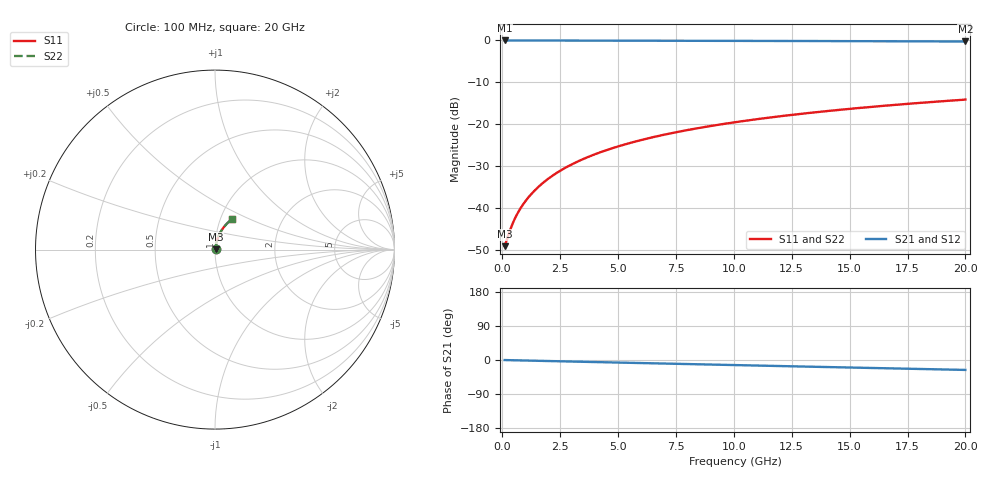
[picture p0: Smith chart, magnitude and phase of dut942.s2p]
! Touchstone file exported from HFSS 2026.1.0
!  File:  C:/ffzhzh/LocalFiles/Ansys_Project_Files/temp_train_BSMRDL_942_1783172102_22436.aedt
!  Generated:  09:36:12 PM Jul  4, 2026
!  Design:  BSMRDL
!  Project:  temp_train_BSMRDL_942_1783172102_22436
! Variables:
!  h_bsmrdl = 3.22um
!  h_ox = 20um
!  h_rdl = 5um
!  h_sub = 80um
!  h_tmrdl = 5um
!  h_tsv = 80um
!  h_via = 3um
!  l_bsmrdl = 412.27um
!  l_sub = 812.27um
!  l_tmrdl = 200um
!  m_sub = 200um
!  pitch = 25.89um
!  r_tsv = 6um
!  s_tmrdl = 10um
!  w_bsmrdl = 14.63um
!  w_sub = 500um
!  w_tmrdl = 12um
!  x_tsv_center1 = 206um
!  x_tsv_center2 = 632.9um
!  x_tsv_center3 = 844.9um
!  x_tsv_center4 = 1271.8um
!  x_tsv_center5 = 1483.8um
!  x_tsv_center6 = 1910.7um
# GHz S MA R 50.000000
! Terminal data exported
! Port[1] = BSM_RDL1_1_T1
! Port[2] = BSM_RDL1_1_T2
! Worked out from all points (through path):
!   200 points, 100 MHz to 20 GHz, reference 50 ohm
!   highest |S21| = -0.03 dB at 100 MHz (marker M1); lowest = -0.3 dB at 20 GHz (marker M2)
!   group delay of S21, straight-line fit = 3.63 ps
!   lowest |S11| = -49.1 dB at 100 MHz (marker M3), VSWR 1.01, Z = 50.3 + j0.128 ohm
!   |S11| at or under -10 dB: start of sweep to end of sweep
!   |S22| runs from -49.1 to -14.1 dB; largest |S21 - S12| = 2.7e-15
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0.1  0.0035 21.3  0.9967 -0.1  0.9967 -0.1  0.0035 21.3
! Gamma 0 0 0 0
! Port Impedance 50 0 50 0
0.4  0.006053 52.9  0.9964 -0.6  0.9964 -0.6  0.006054 52.9
0.5  0.00704 57.4  0.9963 -0.7  0.9963 -0.7  0.00704 57.4
0.6  0.008033 60.8  0.9962 -0.8  0.9962 -0.8  0.008033 60.8
0.7  0.009031 63.4  0.9961 -1.0  0.9961 -1.0  0.009031 63.4
0.9  0.01104 67.3  0.9959 -1.3  0.9959 -1.3  0.01104 67.3
1.1  0.01308 70.1  0.9958 -1.5  0.9958 -1.5  0.01308 70.1
1.3  0.01514 72.1  0.9957 -1.8  0.9957 -1.8  0.01514 72.1
1.7  0.01932 74.7  0.9955 -2.3  0.9955 -2.3  0.01932 74.7
2.2  0.0246 76.5  0.9952 -3.0  0.9952 -3.0  0.0246 76.5
2.8  0.03097 77.5  0.9949 -3.8  0.9949 -3.8  0.03097 77.5
3.5  0.03841 77.9  0.9944 -4.8  0.9944 -4.8  0.03841 77.9
4.2  0.04582 77.8  0.9938 -5.7  0.9938 -5.7  0.04582 77.8
5  0.05423 77.3  0.993 -6.8  0.993 -6.8  0.05423 77.3
5.9  0.06361 76.6  0.992 -8.0  0.992 -8.0  0.06361 76.6
6.8  0.07288 75.8  0.9909 -9.2  0.9909 -9.2  0.07287 75.8
8.3  0.08807 74.1  0.9889 -11.2  0.9889 -11.2  0.08807 74.1
10.1  0.1059 72.1  0.9863 -13.5  0.9863 -13.5  0.1059 72.1
11.7  0.1214 70.2  0.9838 -15.6  0.9838 -15.6  0.1214 70.2
13.4  0.1374 68.2  0.9809 -17.8  0.9809 -17.8  0.1374 68.2
16.7  0.1676 64.3  0.975 -22.0  0.975 -22.0  0.1675 64.3
20  0.1962 60.4  0.9688 -26.2  0.9688 -26.2  0.1962 60.4
